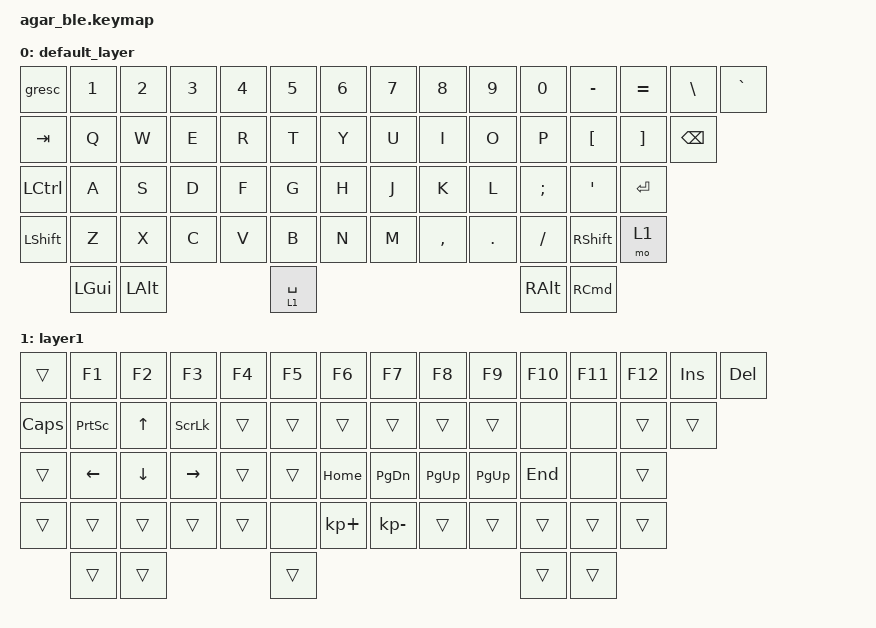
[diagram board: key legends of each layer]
#include <behaviors.dtsi>
#include <dt-bindings/zmk/keys.h>
#include "common.keymap"

/ {
    keymap {
        compatible = "zmk,keymap";

        default_layer {
            bindings = <
&gresc     &kp N1        &kp N2        &kp N3  &kp N4  &kp N5       &kp N6  &kp N7  &kp N8     &kp N9   &kp N0         &kp MINUS   &kp EQUAL  &kp BSLH  &kp GRAVE
&kp TAB    &kp Q         &kp W         &kp E   &kp R   &kp T        &kp Y   &kp U   &kp I      &kp O    &kp P          &kp LBKT    &kp RBKT   &kp BSPC
&kp LCTRL  &kp A         &kp S         &kp D   &kp F   &kp G        &kp H   &kp J   &kp K      &kp L    &kp SEMI       &kp SQT     &kp RET
&kp LSHFT  &kp Z         &kp X         &kp C   &kp V   &kp B        &kp N   &kp M   &kp COMMA  &kp DOT  &kp FSLH       &kp RSHIFT  &mo 1
           &kp LEFT_GUI  &kp LEFT_ALT                  &lt 1 SPACE                                      &kp RIGHT_ALT  &kp RCMD
            >;
        };

        layer1 {
            bindings = <
&trans        &kp F1           &kp F2    &kp F3          &kp F4  &kp F5  &kp F6       &kp F7         &kp F8       &kp F9       &kp F10  &kp F11  &kp F12  &kp INSERT  &kp DELETE
&kp CAPSLOCK  &kp PRINTSCREEN  &kp UP    &kp SCROLLLOCK  &trans  &trans  &trans       &trans         &trans       &trans       &none    &none    &trans   &trans
&trans        &kp LEFT         &kp DOWN  &kp RIGHT       &trans  &trans  &kp HOME     &kp PAGE_DOWN  &kp PAGE_UP  &kp PAGE_UP  &kp END  &none    &trans
&trans        &trans           &trans    &trans          &trans  &none   &kp KP_PLUS  &kp KP_MINUS   &trans       &trans       &trans   &trans   &trans
              &trans           &trans                            &trans                                                        &trans   &trans
            >;
        };

        layer2 { status = "reserved"; };

        layer3 { status = "reserved"; };

        layer4 { status = "reserved"; };

        layer5 { status = "reserved"; };

        layer6 { status = "reserved"; };

        layer7 { status = "reserved"; };
    };
};
